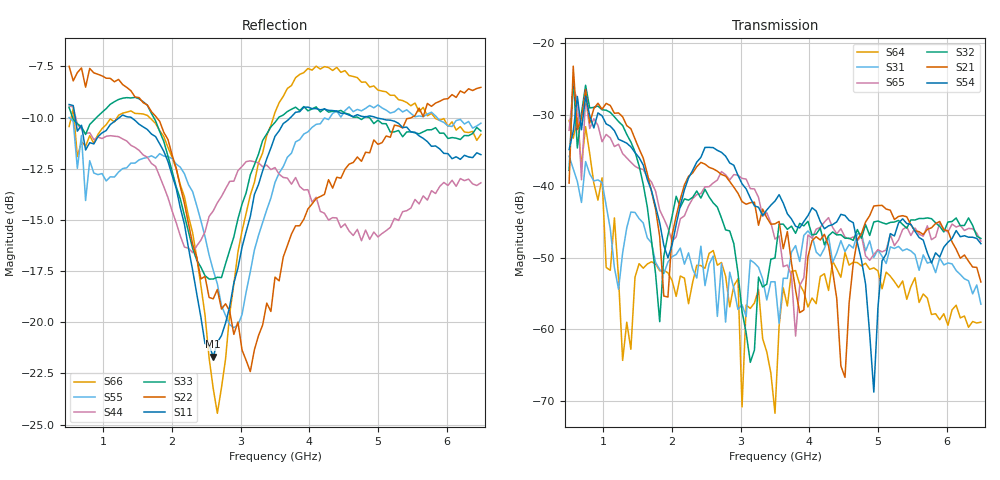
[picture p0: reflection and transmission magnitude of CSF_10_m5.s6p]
!Keysight Technologies,M9804A,MY58100912,A.14.10.03
!Date: Thursday, April 27, 2023 10:28:33
!Correction: S11(C  6-Port  )
!S12(C  6-Port  )
!S13(C  6-Port  )
!S14(C  6-Port  )
!S15(C  6-Port  )
!S16(C  6-Port  )
!S21(C  6-Port  )
!S22(C  6-Port  )
!S23(C  6-Port  )
!S24(C  6-Port  )
!S25(C  6-Port  )
!S26(C  6-Port  )
!S31(C  6-Port  )
!S32(C  6-Port  )
!S33(C  6-Port  )
!S34(C  6-Port  )
!S35(C  6-Port  )
!S36(C  6-Port  )
!S41(C  6-Port  )
!S42(C  6-Port  )
!S43(C  6-Port  )
!S44(C  6-Port  )
!S45(C  6-Port  )
!S46(C  6-Port  )
!S51(C  6-Port  )
!S52(C  6-Port  )
!S53(C  6-Port  )
!S54(C  6-Port  )
!S55(C  6-Port  )
!S56(C  6-Port  )
!S61(C  6-Port  )
!S62(C  6-Port  )
!S63(C  6-Port  )
!S64(C  6-Port  )
!S65(C  6-Port  )
!S66(C  6-Port  )
!S6P File: Measurement: :
# Hz S  RI  R 50
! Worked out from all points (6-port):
!   101 points, 500 MHz to 6.5 GHz, reference 50 ohm
!   strongest paths, dB at 500 MHz, 2 GHz, 3.5 GHz, 5 GHz, 6.5 GHz:
!     S54: -34.9, -48.2, -42.1, -56.9, -48.0
!     S21: -39.6, -46.8, -45.2, -42.7, -53.4
!     S32: -37.8, -44.2, -50.0, -44.8, -47.3
!     S65: -32.2, -47.7, -47.4, -48.9, -47.7
!     S31: -35.8, -49.8, -53.3, -48.9, -56.5
!     S64: -30.8, -53.1, -71.7, -51.8, -59.0
!   lowest |S11| = -21.7 dB at 2.6 GHz (marker M1), VSWR 1.18, Z = 42.7 + j2.1 ohm
!   |S11| at or under -10 dB: 588 MHz to 1.234 GHz (646 MHz wide, 70.9 % of centre); 1.405 GHz to 3.727 GHz (2.322 GHz wide, 90.5 % of centre); 4.969 GHz to end of sweep
